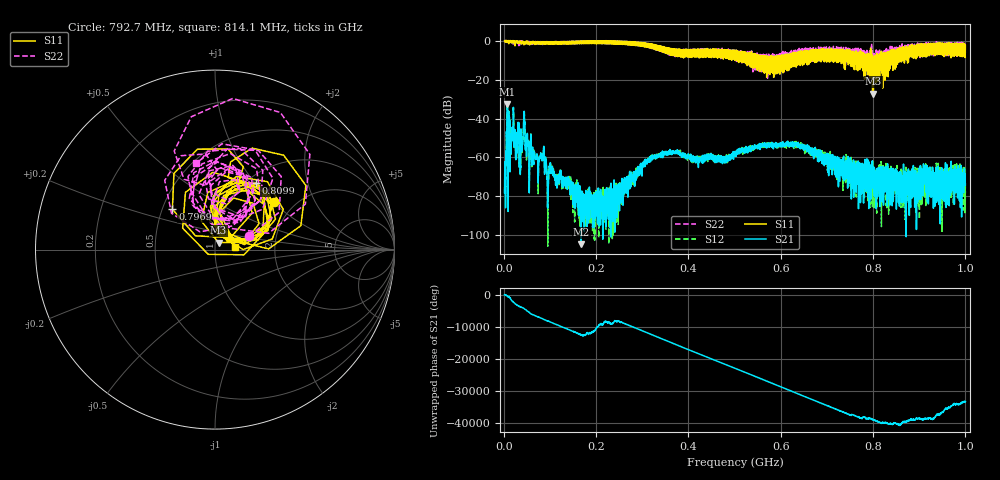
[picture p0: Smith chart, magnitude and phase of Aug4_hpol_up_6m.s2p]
!Keysight Technologies N9923A: A.12.45
!Date: Tuesday, 05 August 2025 19:50:41
!Timezone: (UTC+08:00) Kuala Lumpur, Singapore
!Model: N9923A
!Serial: MY61181427
!GPS Latitude:
!GPS Longitude:
!GPS TimeStamp: 0001-01-01 00:00:00Z
!GPS Seconds Since Last Read: 0
!CHECKSUM:0831561037
!Correction: S11(ON U)S21(ON U)S12(ON U)S22(ON U)
!S2P File: Measurements:S11,S21,S12,S22:
# Hz S DB R 50
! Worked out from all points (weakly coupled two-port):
!   4001 points, 2 MHz to 1 GHz, reference 50 ohm
!   highest |S21| = -32.48 dB at 7.988 MHz (marker M1); lowest = -104.6 dB at 167.9 MHz (marker M2)
!   lowest |S11| = -27.1 dB at 800.6 MHz (marker M3), VSWR 1.09, Z = 51.8 + j4.09 ohm
!   |S11| at or under -10 dB: 552.3532 MHz to 553.1929 MHz (839.8 kHz wide, 0.152 % of centre); 559.068 MHz to 559.9486 MHz (880.6 kHz wide, 0.157 % of centre); 801.5513 MHz to 802.7202 MHz (1.169 MHz wide, 0.146 % of centre)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
!   |S22| runs from -19.7 to 0.1 dB; largest |S21 - S12| = 0.0011
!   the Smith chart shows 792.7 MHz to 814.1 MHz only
!   S11 on the Smith chart (normalised r, x): 792.7 MHz: 1.58, +1.01; 796.9 MHz: 0.56, +0.29; 809.9 MHz: 1.10, +1.01; 814.1 MHz: 1.26, +0.04
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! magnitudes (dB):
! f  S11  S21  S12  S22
! 2 MHz  -0.1  -78.4  -78.0  -0.1
! 7.988 MHz  -0.2  -32.5  -32.5  -0.5
! 16.97 MHz  -0.4  -47.4  -47.4  -0.2
! 38.18 MHz  -0.8  -50.7  -50.8  -0.3
! 46.91 MHz  -0.4  -55.3  -55.1  -0.6
! 51.9 MHz  -0.3  -51.8  -51.9  -0.3
! 82.84 MHz  -1.6  -60.4  -59.8  -1.6
! 93.32 MHz  -1.1  -67.2  -66.4  -1.2
! 167.9 MHz  -0.5  -104.6  -89.8  -0.2
! 168.4 MHz  -1.4  -80.5  -78.2  -1.3
! 248.8 MHz  -1.1  -77.2  -75.9  -0.6
! 334.8 MHz  -4.2  -59.2  -58.1  -5.0
! 501 MHz  -6.8  -57.8  -57.1  -8.9
! 667.4 MHz  -10.4  -56.4  -55.7  -6.0
! 792.7 MHz  -7.5  -69.7  -71.4  -13.8
! 796.9 MHz  -9.7  -73.3  -71.0  -1.4
! 800.6 MHz  -27.1  -71.2  -74.0  -8.2
! 809.9 MHz  -7.2  -72.9  -67.9  -8.3
! 814.1 MHz  -18.8  -72.5  -67.5  -6.1
! 833.8 MHz  -7.3  -67.0  -89.1  -5.2
! 985.8 MHz  -7.5  -71.1  -74.8  -1.2
! 1 GHz  -2.4  -73.7  -78.5  -6.1
